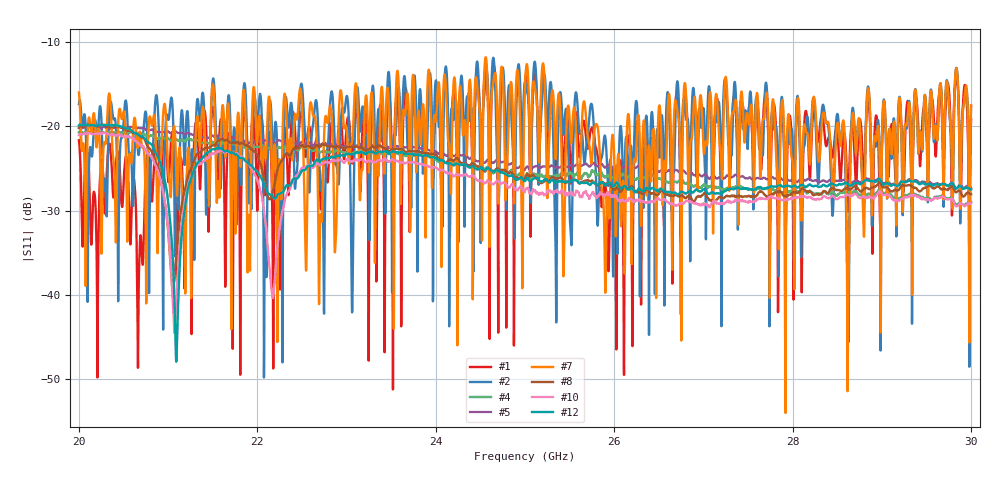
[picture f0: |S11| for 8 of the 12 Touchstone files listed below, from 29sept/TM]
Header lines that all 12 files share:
#  HZ  S  RI  R  50.00
! Rohde & Schwarz ZVA40 4Ports - Version 3.90 - 1145.1110k42 SN: 100403
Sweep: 20 GHz to 30 GHz
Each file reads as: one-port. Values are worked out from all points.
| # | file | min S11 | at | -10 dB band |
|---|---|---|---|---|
| 1 | free_0deg.s1p | -51.3 dB | 23.52 GHz | over 10 GHz wide |
| 2 | screen_0deg.s1p | -49.8 dB | 22.07 GHz | over 10 GHz wide |
| 3 | screen_15deg.s1p | -27.8 dB | 29.91 GHz | over 10 GHz wide |
| 4 | screen_30deg.s1p | -29.4 dB | 29.93 GHz | over 10 GHz wide |
| 5 | screen_45deg.s1p | -27.4 dB | 29.83 GHz | over 10 GHz wide |
| 6 | struct_0deg_6A.s1p | -58.3 dB | 23.7 GHz | over 10 GHz wide |
| 7 | struct_0deg_inverse5V.s1p | -54.1 dB | 27.92 GHz | over 10 GHz wide |
| 8 | struct_15deg_inverse5V.s1p | -39.2 dB | 21.05 GHz | over 10 GHz wide |
| 9 | struct_30deg_6A.s1p | -32.8 dB | 29.74 GHz | over 10 GHz wide |
| 10 | struct_30deg_inverse5V.s1p | -44.6 dB | 21.07 GHz | over 10 GHz wide |
| 11 | struct_45deg_6A.s1p | -38.3 dB | 29.72 GHz | over 10 GHz wide |
| 12 | struct_45deg_inverse5V.s1p | -48.0 dB | 21.09 GHz | over 10 GHz wide |
